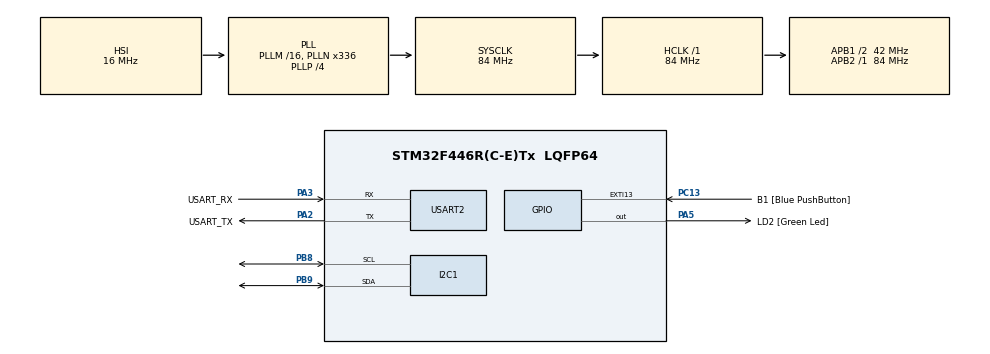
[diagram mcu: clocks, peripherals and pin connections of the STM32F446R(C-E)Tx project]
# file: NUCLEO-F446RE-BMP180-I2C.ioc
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Mcu.Family=STM32F4
Mcu.Name=STM32F446R(C-E)Tx
Mcu.Package=LQFP64
NVIC.PriorityGroup=NVIC_PRIORITYGROUP_0
PA13.GPIO_Label=TMS
PA13.Mode=Serial_Wire
PA13.Signal=SYS_JTMS-SWDIO
PA14.GPIO_Label=TCK
PA14.Mode=Serial_Wire
PA14.Signal=SYS_JTCK-SWCLK
PA2.GPIO_Label=USART_TX
PA2.Mode=Asynchronous
PA2.Signal=USART2_TX
PA3.GPIO_Label=USART_RX
PA3.Mode=Asynchronous
PA3.Signal=USART2_RX
PA5.GPIO_Label=LD2 [Green Led]
PA5.Signal=GPIO_Output
PB3.GPIO_Label=SWO
PB3.Signal=SYS_JTDO-SWO
PB8.Mode=I2C
PB8.Signal=I2C1_SCL
PB9.Mode=I2C
PB9.Signal=I2C1_SDA
PC13.GPIO_Label=B1 [Blue PushButton]
PC13.GPIO_ModeDefaultEXTI=GPIO_MODE_IT_FALLING
PC13.Signal=GPXTI13
PC14-OSC32_IN.Mode=LSE-External-Oscillator
PC14-OSC32_IN.Signal=RCC_OSC32_IN
PC15-OSC32_OUT.Mode=LSE-External-Oscillator
PC15-OSC32_OUT.Signal=RCC_OSC32_OUT
PH0-OSC_IN.Mode=HSE-External-Oscillator
PH0-OSC_IN.Signal=RCC_OSC_IN
PH1-OSC_OUT.Mode=HSE-External-Oscillator
PH1-OSC_OUT.Signal=RCC_OSC_OUT
ProjectManager.HeapSize=0x200
ProjectManager.StackSize=0x400
ProjectManager.TargetToolchain=STM32CubeIDE
RCC.48MHZClocksFreq_Value=84000000
RCC.AHBFreq_Value=84000000
RCC.APB1CLKDivider=RCC_HCLK_DIV2
RCC.APB1Freq_Value=42000000
RCC.APB1TimFreq_Value=84000000
RCC.APB2Freq_Value=84000000
RCC.APB2TimFreq_Value=84000000
RCC.CortexFreq_Value=84000000
RCC.FLatency-AdvancedSettings=FLASH_LATENCY_2
RCC.HCLKFreq_Value=84000000
RCC.HSE_VALUE=8000000
RCC.HSI_VALUE=16000000
RCC.PLLN=336
RCC.PLLP=RCC_PLLP_DIV4
RCC.SYSCLKFreq_VALUE=84000000
RCC.SYSCLKSource=RCC_SYSCLKSOURCE_PLLCLK
RCC.USBFreq_Value=168000000
RCC.VCOOutputFreq_Value=336000000
USART2.VirtualMode=VM_ASYNC
board=NUCLEO-F446RE

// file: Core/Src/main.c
/* USER CODE BEGIN Header */
/**
  ******************************************************************************
  * @file           : main.c
  * @brief          : Main program body
  ******************************************************************************
  * @attention
  *
  * <h2><center>&copy; Copyright (c) 2020 STMicroelectronics.
  * All rights reserved.</center></h2>
  *
  * This software component is licensed by ST under BSD 3-Clause license,
  * the "License"; You may not use this file except in compliance with the
  * License. You may obtain a copy of the License at:
  *                        opensource.org/licenses/BSD-3-Clause
  *
  ******************************************************************************
  */
/* USER CODE END Header */

#include "main.h"

/* USER CODE BEGIN Includes */
#include "string.h"
#include "stdio.h"
#include "math.h"
/* USER CODE END Includes */

/* USER CODE BEGIN PTD */
typedef struct bmp180_cal_struct {
	int16_t ac1;
	int16_t ac2;
	int16_t ac3;
	uint16_t ac4;
	uint16_t ac5;
	uint16_t ac6;
	int16_t b1;
	int16_t b2;
	int16_t mb;
	int16_t mc;
	int16_t md;
} bmp180_cal_t;

typedef struct bmp180_data_struct {
  long temperature;
  long pressure;
} bmp180_data_t;
/* USER CODE END PTD */

/* USER CODE BEGIN PD */
#define BMP180_CAL_AC1 0xAA
#define BMP180_CAL_AC2 0xAC
#define BMP180_CAL_AC3 0xAE
#define BMP180_CAL_AC4 0xB0
#define BMP180_CAL_AC5 0xB2
#define BMP180_CAL_AC6 0xB4
#define BMP180_CAL_B1 0xB6
#define BMP180_CAL_B2 0xB8
#define BMP180_CAL_MB 0xBA
#define BMP180_CAL_MC 0xBC
#define BMP180_CAL_MD 0xBE
/* USER CODE END PD */

I2C_HandleTypeDef hi2c1;

UART_HandleTypeDef huart2;

/* USER CODE BEGIN PV */
bmp180_cal_t cal;
static const uint8_t BMP180_ADDR = 0x77 << 1;
/* USER CODE END PV */

void SystemClock_Config(void);
static void MX_GPIO_Init(void);
static void MX_USART2_UART_Init(void);
static void MX_I2C1_Init(void);
/* USER CODE BEGIN PFP */
HAL_StatusTypeDef BMP180_ReadInt16(uint8_t address, int16_t *result);
HAL_StatusTypeDef BMP180_Write(uint8_t* data, size_t length);
HAL_StatusTypeDef BMP180_ReadByte(uint8_t address, uint8_t *result);
HAL_StatusTypeDef BMP180_Read_Calibration();
uint32_t BMP180_Get_Pressure_Measurement_Time(uint8_t oversampling);
HAL_StatusTypeDef BMP180_Acquire_Data(uint8_t oversampling, bmp180_data_t* result);
unsigned long BMP180_Absolute_Altitude(float pressure, float seaLevelPressure);
/* USER CODE END PFP */

int main(void)
{
  /* USER CODE BEGIN 1 */
  uint8_t pbuf[128];
  bmp180_data_t data;
  /* USER CODE END 1 */

  /* MCU Configuration--------------------------------------------------------*/

  /* Reset of all peripherals, Initializes the Flash interface and the Systick. */
  HAL_Init();

  /* Configure the system clock */
  SystemClock_Config();

  /* Initialize all configured peripherals */
  MX_GPIO_Init();
  MX_USART2_UART_Init();
  MX_I2C1_Init();
  /* USER CODE BEGIN 2 */

  HAL_StatusTypeDef ret = BMP180_Read_Calibration();
  if (ret != HAL_OK)
  {
    sprintf((char*)pbuf, "Failed reading calibration data!\r\n");
  }
  else
  {
    sprintf((char*)pbuf, "Succesfully read calibration data!\r\n");
  }

  HAL_UART_Transmit(&huart2, pbuf, strlen((char*)pbuf), HAL_MAX_DELAY);
  /* USER CODE END 2 */

  /* Infinite loop */
  /* USER CODE BEGIN WHILE */
  while (1)
  {
    ret = BMP180_Acquire_Data(3, &data);
    if (ret != HAL_OK)
    {
      sprintf((char*)pbuf, "Failed reading temperature!\r\n");
    }
    else
    {
      unsigned int temp = (unsigned int)data.temperature / 10;
      unsigned int dec = (unsigned int)data.temperature % 10;
      unsigned int press = (unsigned int)data.pressure / 100;
      unsigned int pressdec = (unsigned int)data.pressure % 100;

//      unsigned long altcm = BMP180_Absolute_Altitude(data.pressure / 100.0f, 1013.25);
      unsigned long altcm = BMP180_Absolute_Altitude(data.pressure / 100.0f, 1012.0);
      unsigned int alt = (unsigned int)altcm / 100;
      unsigned int altdec = (unsigned int)altcm % 100;
      sprintf((char*)pbuf, "Temperature: %u.%02u C\t Pressure: %u.%02u hPa\t Abs. Altitude: %u.%02u m\r\n",
          temp,
          dec,
          press,
          pressdec,
          alt,
          altdec
      );
    }

    HAL_UART_Transmit(&huart2, pbuf, strlen((char*)pbuf), HAL_MAX_DELAY);
    HAL_Delay(2000);
    /* USER CODE END WHILE */

  }
}

void SystemClock_Config(void)
{
  RCC_OscInitTypeDef RCC_OscInitStruct = {0};
  RCC_ClkInitTypeDef RCC_ClkInitStruct = {0};

  /** Configure the main internal regulator output voltage
  */
  __HAL_RCC_PWR_CLK_ENABLE();
  __HAL_PWR_VOLTAGESCALING_CONFIG(PWR_REGULATOR_VOLTAGE_SCALE3);
  /** Initializes the CPU, AHB and APB busses clocks
  */
  RCC_OscInitStruct.OscillatorType = RCC_OSCILLATORTYPE_HSI;
  RCC_OscInitStruct.HSIState = RCC_HSI_ON;
  RCC_OscInitStruct.HSICalibrationValue = RCC_HSICALIBRATION_DEFAULT;
  RCC_OscInitStruct.PLL.PLLState = RCC_PLL_ON;
  RCC_OscInitStruct.PLL.PLLSource = RCC_PLLSOURCE_HSI;
  RCC_OscInitStruct.PLL.PLLM = 16;
  RCC_OscInitStruct.PLL.PLLN = 336;
  RCC_OscInitStruct.PLL.PLLP = RCC_PLLP_DIV4;
  RCC_OscInitStruct.PLL.PLLQ = 2;
  RCC_OscInitStruct.PLL.PLLR = 2;
  if (HAL_RCC_OscConfig(&RCC_OscInitStruct) != HAL_OK)
  {
    Error_Handler();
  }
  /** Initializes the CPU, AHB and APB busses clocks
  */
  RCC_ClkInitStruct.ClockType = RCC_CLOCKTYPE_HCLK|RCC_CLOCKTYPE_SYSCLK
                              |RCC_CLOCKTYPE_PCLK1|RCC_CLOCKTYPE_PCLK2;
  RCC_ClkInitStruct.SYSCLKSource = RCC_SYSCLKSOURCE_PLLCLK;
  RCC_ClkInitStruct.AHBCLKDivider = RCC_SYSCLK_DIV1;
  RCC_ClkInitStruct.APB1CLKDivider = RCC_HCLK_DIV2;
  RCC_ClkInitStruct.APB2CLKDivider = RCC_HCLK_DIV1;

  if (HAL_RCC_ClockConfig(&RCC_ClkInitStruct, FLASH_LATENCY_2) != HAL_OK)
  {
    Error_Handler();
  }
}

static void MX_I2C1_Init(void)
{

  hi2c1.Instance = I2C1;
  hi2c1.Init.ClockSpeed = 100000;
  hi2c1.Init.DutyCycle = I2C_DUTYCYCLE_2;
  hi2c1.Init.OwnAddress1 = 0;
  hi2c1.Init.AddressingMode = I2C_ADDRESSINGMODE_7BIT;
  hi2c1.Init.DualAddressMode = I2C_DUALADDRESS_DISABLE;
  hi2c1.Init.OwnAddress2 = 0;
  hi2c1.Init.GeneralCallMode = I2C_GENERALCALL_DISABLE;
  hi2c1.Init.NoStretchMode = I2C_NOSTRETCH_DISABLE;
  if (HAL_I2C_Init(&hi2c1) != HAL_OK)
  {
    Error_Handler();
  }

}

static void MX_USART2_UART_Init(void)
{

  huart2.Instance = USART2;
  huart2.Init.BaudRate = 115200;
  huart2.Init.WordLength = UART_WORDLENGTH_8B;
  huart2.Init.StopBits = UART_STOPBITS_1;
  huart2.Init.Parity = UART_PARITY_NONE;
  huart2.Init.Mode = UART_MODE_TX_RX;
  huart2.Init.HwFlowCtl = UART_HWCONTROL_NONE;
  huart2.Init.OverSampling = UART_OVERSAMPLING_16;
  if (HAL_UART_Init(&huart2) != HAL_OK)
  {
    Error_Handler();
  }

}

static void MX_GPIO_Init(void)
{
  GPIO_InitTypeDef GPIO_InitStruct = {0};

  /* GPIO Ports Clock Enable */
  __HAL_RCC_GPIOC_CLK_ENABLE();
  __HAL_RCC_GPIOH_CLK_ENABLE();
  __HAL_RCC_GPIOA_CLK_ENABLE();
  __HAL_RCC_GPIOB_CLK_ENABLE();

  /*Configure GPIO pin Output Level */
  HAL_GPIO_WritePin(LD2_GPIO_Port, LD2_Pin, GPIO_PIN_RESET);

  /*Configure GPIO pin : B1_Pin */
  GPIO_InitStruct.Pin = B1_Pin;
  GPIO_InitStruct.Mode = GPIO_MODE_IT_FALLING;
  GPIO_InitStruct.Pull = GPIO_NOPULL;
  HAL_GPIO_Init(B1_GPIO_Port, &GPIO_InitStruct);

  /*Configure GPIO pin : LD2_Pin */
  GPIO_InitStruct.Pin = LD2_Pin;
  GPIO_InitStruct.Mode = GPIO_MODE_OUTPUT_PP;
  GPIO_InitStruct.Pull = GPIO_NOPULL;
  GPIO_InitStruct.Speed = GPIO_SPEED_FREQ_LOW;
  HAL_GPIO_Init(LD2_GPIO_Port, &GPIO_InitStruct);

}

/* USER CODE BEGIN 4 */
HAL_StatusTypeDef BMP180_Write(uint8_t* data, size_t length)
{
  HAL_StatusTypeDef ret = HAL_I2C_Master_Transmit(&hi2c1, BMP180_ADDR, data, length, HAL_MAX_DELAY);

  return ret;
}

HAL_StatusTypeDef BMP180_ReadByte(uint8_t address, uint8_t *result)
{

  HAL_StatusTypeDef ret = BMP180_Write(&address, 1);

  if (ret != HAL_OK)
  {
    return ret;
  }

  uint8_t readResult = 0;
  ret = HAL_I2C_Master_Receive(&hi2c1, BMP180_ADDR, &readResult, 1, HAL_MAX_DELAY);
  if (ret != HAL_OK)
  {
    return ret;
  }

  *result = readResult;

  return HAL_OK;
}

HAL_StatusTypeDef BMP180_ReadInt16(uint8_t address, int16_t *result)
{
  uint8_t buf[2];

  buf[0] = address;
  HAL_StatusTypeDef ret = BMP180_Write(buf, 1);

  if (ret != HAL_OK)
  {
    return ret;
  }

  ret = HAL_I2C_Master_Receive(&hi2c1, BMP180_ADDR, buf, 2, HAL_MAX_DELAY);
  if (ret != HAL_OK)
  {
    return ret;
  }

  *result = ((int16_t)buf[0] << 8 | buf[1]);

  return HAL_OK;
}

HAL_StatusTypeDef BMP180_Read_Calibration()
{
  HAL_StatusTypeDef ret;

  ret = BMP180_ReadInt16(BMP180_CAL_AC1, &cal.ac1);
  if (ret != HAL_OK)
  {
    return ret;
  }

  ret = BMP180_ReadInt16(BMP180_CAL_AC2, &cal.ac2);
  if (ret != HAL_OK)
  {
    return ret;
  }

  ret = BMP180_ReadInt16(BMP180_CAL_AC3, &cal.ac3);
  if (ret != HAL_OK)
  {
    return ret;
  }

  int16_t rshort;

  ret = BMP180_ReadInt16(BMP180_CAL_AC4, &rshort);
  if (ret != HAL_OK)
  {
    return ret;
  }

  cal.ac4 = (uint16_t)rshort;

  ret = BMP180_ReadInt16(BMP180_CAL_AC5, &rshort);
  if (ret != HAL_OK)
  {
    return ret;
  }

  cal.ac5 = (uint16_t)rshort;

  ret = BMP180_ReadInt16(BMP180_CAL_AC6, &rshort);
  if (ret != HAL_OK)
  {
    return ret;
  }

  cal.ac6 = (uint16_t)rshort;

  ret = BMP180_ReadInt16(BMP180_CAL_B1, &cal.b1);
  if (ret != HAL_OK)
  {
    return ret;
  }

  ret = BMP180_ReadInt16(BMP180_CAL_B2, &cal.b2);
  if (ret != HAL_OK)
  {
    return ret;
  }

  ret = BMP180_ReadInt16(BMP180_CAL_MB, &cal.mb);
  if (ret != HAL_OK)
  {
    return ret;
  }

  ret = BMP180_ReadInt16(BMP180_CAL_MC, &cal.mc);
  if (ret != HAL_OK)
  {
    return ret;
  }

  ret = BMP180_ReadInt16(BMP180_CAL_MD, &cal.md);
  if (ret != HAL_OK)
  {
    return ret;
  }

  return HAL_OK;
}

HAL_StatusTypeDef BMP180_Acquire_Data(uint8_t oversampling, bmp180_data_t* result)
{
  uint8_t buf[3];
  HAL_StatusTypeDef ret;
  uint8_t oss = oversampling > 3 ? 3 : oversampling;

  // read temperature;
  buf[0] = 0xF4;
  buf[1] = 0x2E;
  ret = BMP180_Write(buf, 2);
  if (ret != HAL_OK)
  {
    return ret;
  }

  HAL_Delay(5);

  int16_t utemp;
  ret = BMP180_ReadInt16(0xF6, &utemp);
  if (ret != HAL_OK)
  {
    return ret;
  }

  long x1 = (utemp - cal.ac6) * (cal.ac5 / pow(2, 15));
  long x2 = (cal.mc * pow(2, 11)) / (x1 + cal.md);
  long b5 = x1 + x2;
  long temp = (b5 + 8) / pow(2, 4);

  result->temperature = temp;

  // read pressure
  buf[0] = 0xF4;
  buf[1] = (0x34 + (oss << 6));
  ret = BMP180_Write(buf, 2);
  if (ret != HAL_OK)
  {
    return ret;
  }

  HAL_Delay(BMP180_Get_Pressure_Measurement_Time(oversampling));

  uint8_t pmsb, plsb, pxlsb;
  ret = BMP180_ReadByte(0xF6, &pmsb);
  if (ret != HAL_OK)
  {
    return ret;
  }

  ret = BMP180_ReadByte(0xF7, &plsb);
  if (ret != HAL_OK)
  {
    return ret;
  }

  ret = BMP180_ReadByte(0xF8, &pxlsb);
  if (ret != HAL_OK)
  {
    return ret;
  }

  long upressure = (pmsb << 16 | plsb << 8 | pxlsb) >> (8 - oss);
  long b6 = b5 - 4000;
  x1 = (cal.ac2 * ((b6 * b6) >> 12)) >> 11;
  x2 = (cal.ac2 * b6) >> 11;
  long x3 = x1 + x2;
  long b3 = (((cal.ac1 * 4 + x3) << oss) + 2) / 4;
  x1 = (cal.ac3 * b6) >> 13;
  x2 = (cal.b1 * ((b6 * b6) >> 12)) >> 16;
  x3 = ((x1 + x2) + 2) / 4;
  unsigned long b4 = cal.ac4 * (unsigned long)(x3 + 32768) / pow(2, 15);
  unsigned long b7 = ((unsigned long)upressure - b3) * (50000 >> oss);
  long p = (b7 < 0x80000000) ? ((b7 * 2) / b4) : ((b7 / b4) * 2);

  x1 = (p >> 8) * (p >> 8);
  x1 = (x1 * 3038) >> 16;
  x2 = (-7357 * p) >> 16;
  p = p + ((x1 + x2 + 3791) >> 4);

  result->pressure = p;

  return HAL_OK;
}

uint32_t BMP180_Get_Pressure_Measurement_Time(uint8_t oversampling)
{
  uint8_t oss = oversampling > 3 ? 3 : oversampling;
  uint32_t delayMs = 0;
  switch (oss)
  {
  case 0:
    delayMs = 5;
  break;
  case 1:
    delayMs = 8;
  break;
  case 2:
    delayMs = 14;
  break;
  case 3:
    delayMs = 26;
  break;
  }

  return delayMs;
}

unsigned long BMP180_Absolute_Altitude(float pressure, float seaLevelPressure)
{
  float ratio = pressure / seaLevelPressure;
  float alt = 44330 * (1 - pow(ratio, (1.0/5.225)));

  return (unsigned long)(alt * 100);
}
/* USER CODE END 4 */

void Error_Handler(void)
{
}

/************************ (C) COPYRIGHT STMicroelectronics *****END OF FILE****/
